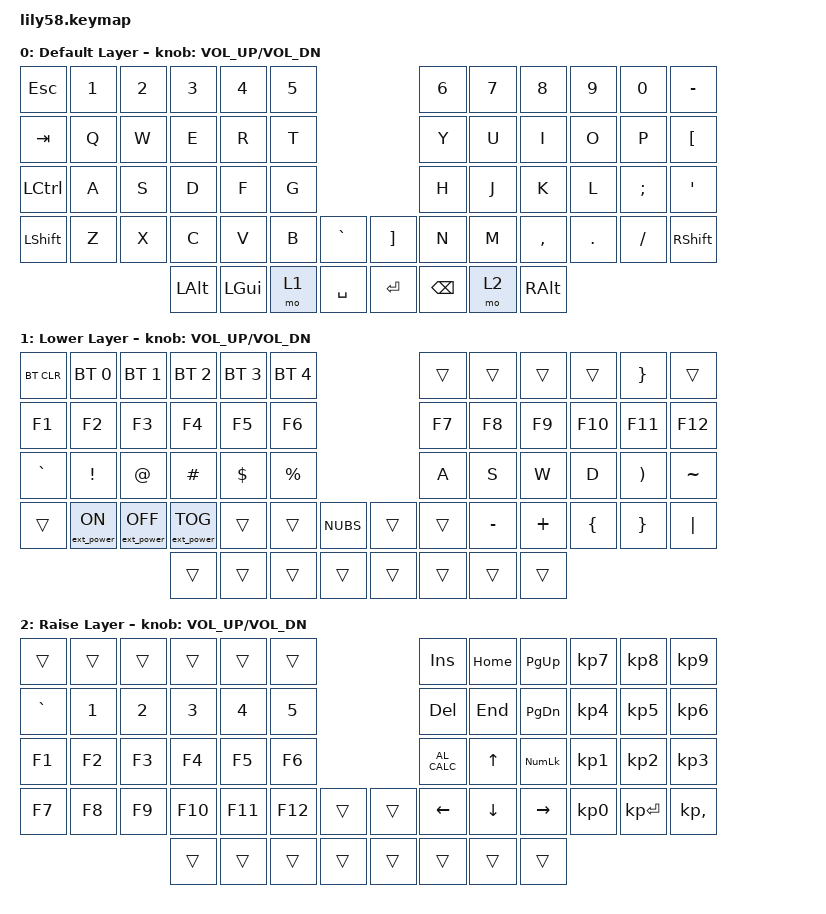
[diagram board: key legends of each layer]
/*
 * Copyright (c) 2020 The ZMK Contributors
 *
 * SPDX-License-Identifier: MIT
 */

#include <behaviors.dtsi>
#include <dt-bindings/zmk/keys.h>
#include <dt-bindings/zmk/bt.h>
#include <dt-bindings/zmk/ext_power.h>

/ {
    keymap {
        compatible = "zmk,keymap";

        default_layer {
            display-name = "Default Layer";
// ------------------------------------------------------------------------------------------------------------
// |  ESC  |  1  |  2  |  3   |  4   |  5   |                   |  6   |  7    |  8    |  9   |   0   |   ß   |
// |  TAB  |  Q  |  W  |  E   |  R   |  T   |                   |  Y   |  U    |  I    |  O   |   P   |   Ü   |
// |  CTRL |  A  |  S  |  D   |  F   |  G   |                   |  H   |  J    |  K    |  L   |   Ö   |   Ä   |
// | SHIFT |  Z  |  X  |  C   |  V   |  B   |    ^   |  |   +   |  N   |  M    |  ,    |  .   |   _   | SHIFT |
//                     | ALT  | GUI  | LOWER|  SPACE |  | ENTER | BSPC | RAISE | ALTGR |
            bindings = <
&kp ESC   &kp N1 &kp N2 &kp N3   &kp N4   &kp N5                     &kp N6   &kp N7   &kp N8    &kp N9  &kp N0   &kp MINUS
&kp TAB   &kp Q  &kp W  &kp E    &kp R    &kp T                      &kp Y    &kp U    &kp I     &kp O   &kp P    &kp LBKT
&kp LCTRL &kp A  &kp S  &kp D    &kp F    &kp G                      &kp H    &kp J    &kp K     &kp L   &kp SEMI &kp SQT
&kp LSHFT &kp Z  &kp X  &kp C    &kp V    &kp B  &kp GRAVE  &kp RBKT &kp N    &kp M    &kp COMMA &kp DOT &kp FSLH &kp RSHFT
                        &kp LALT &kp LGUI &mo 1  &kp SPACE  &kp RET  &kp BSPC &mo 2  &kp RALT
            >;

            sensor-bindings = <&inc_dec_kp C_VOL_UP C_VOL_DN>;
        };

        lower_layer {
            display-name = "Lower Layer";
// ------------------------------------------------------------------------------------------------------------
// | BTCLR | BT1 | BT2 |  BT3 |  BT4 |  BT5 |                   |      |       |       |      |       |       |
// |  F1   |  F2 |  F3 |  F4  |  F5  |  F6  |                   |  F7  |  F8   |  F9   |  F10 |  F11  |  F12  |
// |   ^   |  !  |  "  |  §   |  $   |  %   |                   |  A   |  S    |  W    |  D   |   =   |   °   |
// |       |     |     |      |      |      |   \    |  |       |      |  ß    |  `    |  Ü   |   *   |   '   |
//                     |      |      |      |        |  |       |      |       |       |
            bindings = <
&bt BT_CLR &bt BT_SEL 0     &bt BT_SEL 1      &bt BT_SEL 2      &bt BT_SEL 3 &bt BT_SEL 4                 &trans    &trans    &trans    &trans    &kp RBRC  &trans
&kp F1     &kp F2           &kp F3            &kp F4            &kp F5       &kp F6                       &kp F7    &kp F8    &kp F9    &kp F10   &kp F11   &kp F12
&kp GRAVE  &kp EXCL         &kp AT            &kp HASH          &kp DOLLAR   &kp PRCNT                    &kp A	    &kp S     &kp W     &kp D     &kp RPAR  &kp TILDE
&trans     &ext_power EP_ON &ext_power EP_OFF &ext_power EP_TOG &trans       &trans    &kp NUBS &trans    &trans    &kp MINUS &kp PLUS  &kp LBRC  &kp RBRC  &kp PIPE
                                              &trans            &trans       &trans    &trans   &trans    &trans    &trans    &trans
            >;

            sensor-bindings = <&inc_dec_kp C_VOL_UP C_VOL_DN>;
        };

        raise_layer {
            display-name = "Raise Layer";
// ------------------------------------------------------------------------------------------------------------
// |       |     |     |      |      |      |                   | INS  |  POS1 |  PGUP |   7   |   8   |   9   | 
// |   `   |  1  |  2  |  3   |  4   |  5   |                   | DEL  |  END  |  PGDN |   4   |   5   |   6   |
// |   F1  |  F2 |  F3 |  F4  |  F5  |  F6  |                   |rechna|   ^   | NUMLK |   1   |   2   |   3   |
// |   F7  |  F8 |  F9 |  F10 |  F11 |  F12 |        |  |       |  <-  |   v   |   ->  |   0   | ENTER |   ,   |
//                     |      |      |      |        |  |       |      |       |       |
            bindings = <
&trans    &trans &trans &trans  &trans  &trans                       &kp INSERT  &kp HOME  &kp PG_UP  &kp KP_N7 &kp KP_N8 &kp KP_N9
&kp GRAVE &kp N1 &kp N2 &kp N3  &kp N4  &kp N5                       &kp DELETE  &kp END   &kp PG_DN  &kp KP_N4 &kp KP_N5 &kp KP_N6
&kp F1    &kp F2 &kp F3 &kp F4  &kp F5  &kp F6                       &kp C_AL_CALC  &kp UP    &kp KP_NUM &kp KP_N1 &kp KP_N2 &kp KP_N3
&kp F7    &kp F8 &kp F9 &kp F10 &kp F11 &kp F12   &trans   &trans    &kp LEFT	 &kp DOWN  &kp RIGHT  &kp KP_N0 &kp KP_ENTER &kp KP_COMMA
                        &trans  &trans  &trans    &trans   &trans    &trans      &trans    &trans
            >;

            sensor-bindings = <&inc_dec_kp C_VOL_UP C_VOL_DN>;
        };
    };
};
